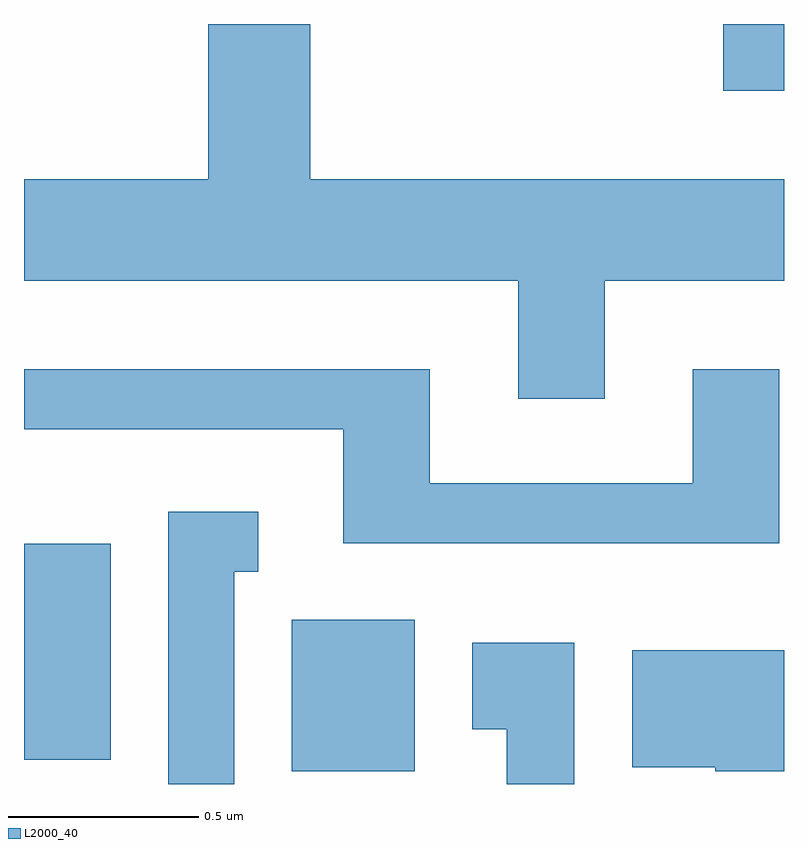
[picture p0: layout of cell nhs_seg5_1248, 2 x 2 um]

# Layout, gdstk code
import gdstk
lib = gdstk.Library(unit=1e-6, precision=1e-09)
def R(c, l, rs):  # rectangles x0, y0, x1, y1
    for r in rs: c.add(gdstk.rectangle(r[:2], r[2:], *l))
def P(c, l, *ps):  # polygons
    for p in ps: c.add(gdstk.Polygon(p, *l))
L2000_40 = (2000, 40)

nhs_seg5_1248 = lib.new_cell('nhs_seg5_1248')
R(nhs_seg5_1248, L2000_40, [(195.316,1411.106,195.639,1411.504), (194.611,1411.136,194.839,1411.704), (196.451,1412.896,196.611,1413.072)])
P(nhs_seg5_1248, L2000_40, [(196.139,1412.396),(196.611,1412.396),(196.611,1412.664),(195.364,1412.664),(195.364,1413.072),(195.096,1413.072),(195.096,1412.664),(194.611,1412.664),(194.611,1412.396),(195.911,1412.396),(195.911,1412.086),(196.139,1412.086)],
  [(196.599,1412.164),(196.371,1412.164),(196.371,1411.864),(195.679,1411.864),(195.679,1412.164),(194.611,1412.164),(194.611,1412.006),(195.451,1412.006),(195.451,1411.706),(196.599,1411.706)],
  [(195.164,1411.631),(195.228,1411.631),(195.228,1411.789),(194.991,1411.789),(194.991,1411.072),(195.164,1411.072)],
  [(196.059,1411.444),(195.791,1411.444),(195.791,1411.216),(195.881,1411.216),(195.881,1411.072),(196.059,1411.072)],
  [(196.611,1411.424),(196.211,1411.424),(196.211,1411.116),(196.43,1411.116),(196.43,1411.106),(196.611,1411.106)])

lib.write_gds('nhs_seg5_1248.gds')
